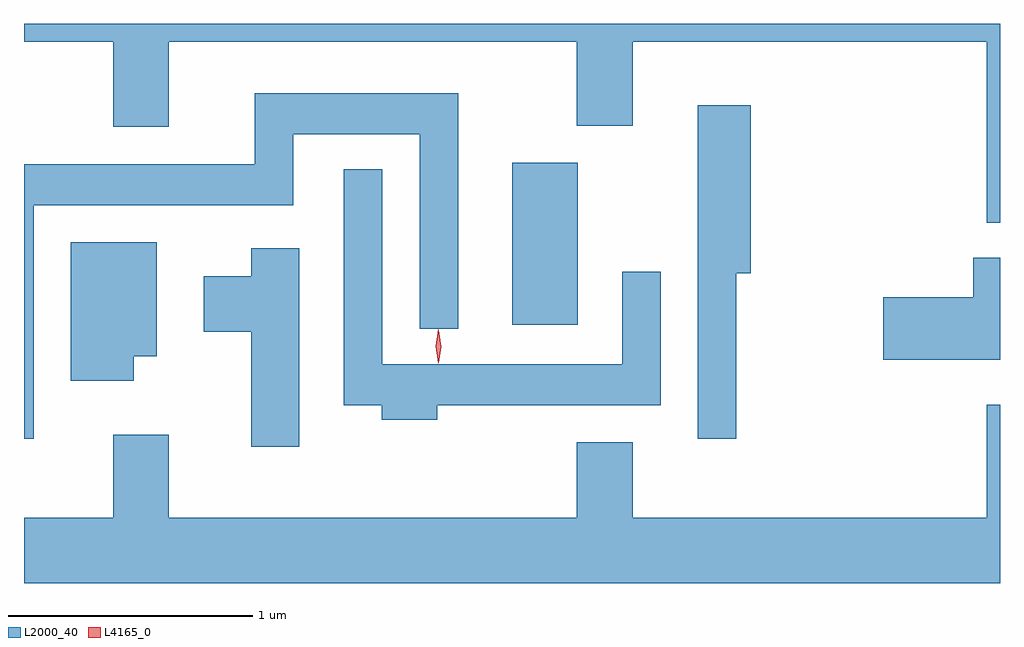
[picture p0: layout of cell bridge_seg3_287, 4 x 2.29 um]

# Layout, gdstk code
import gdstk
lib = gdstk.Library(unit=1e-6, precision=1e-09)
def R(c, l, rs):  # rectangles x0, y0, x1, y1
    for r in rs: c.add(gdstk.rectangle(r[:2], r[2:], *l))
def P(c, l, *ps):  # polygons
    for p in ps: c.add(gdstk.Polygon(p, *l))
L2000_40 = (2000, 40)
L4165_0 = (4165, 0)

bridge_seg3_287 = lib.new_cell('bridge_seg3_287')
R(bridge_seg3_287, L2000_40, [(1071.806,1127.076,1072.074,1127.739)])
P(bridge_seg3_287, L2000_40, [(1073.805,1128.309),(1069.805,1128.309),(1069.805,1128.236),(1070.171,1128.236),(1070.171,1127.886),(1070.399,1127.886),(1070.399,1128.236),(1072.071,1128.236),(1072.071,1127.891),(1072.299,1127.891),(1072.299,1128.236),(1073.751,1128.236),(1073.751,1127.493),(1073.805,1127.493)],
  [(1069.844,1127.566),(1070.909,1127.566),(1070.909,1127.856),(1071.426,1127.856),(1071.426,1127.058),(1071.584,1127.058),(1071.584,1128.024),(1070.751,1128.024),(1070.751,1127.734),(1069.805,1127.734),(1069.805,1126.608),(1069.844,1126.608)],
  [(1072.724,1127.286),(1072.784,1127.286),(1072.784,1127.974),(1072.566,1127.974),(1072.566,1126.608),(1072.724,1126.608)],
  [(1071.499,1126.746),(1072.414,1126.746),(1072.414,1127.293),(1072.256,1127.293),(1072.256,1126.914),(1071.274,1126.914),(1071.274,1127.713),(1071.116,1127.713),(1071.116,1126.746),(1071.271,1126.746),(1071.271,1126.686),(1071.499,1126.686)],
  [(1070.254,1126.946),(1070.349,1126.946),(1070.349,1127.414),(1069.996,1127.414),(1069.996,1126.846),(1070.254,1126.846)],
  [(1070.934,1127.389),(1070.736,1127.389),(1070.736,1127.274),(1070.541,1127.274),(1070.541,1127.046),(1070.736,1127.046),(1070.736,1126.576),(1070.934,1126.576)],
  [(1073.805,1127.349),(1073.696,1127.349),(1073.696,1127.189),(1073.326,1127.189),(1073.326,1126.931),(1073.805,1126.931)],
  [(1073.805,1126.748),(1073.751,1126.748),(1073.751,1126.284),(1072.299,1126.284),(1072.299,1126.594),(1072.071,1126.594),(1072.071,1126.284),(1070.399,1126.284),(1070.399,1126.624),(1070.171,1126.624),(1070.171,1126.284),(1069.805,1126.284),(1069.805,1126.016),(1073.805,1126.016)])
P(bridge_seg3_287, L4165_0, [(1071.502,1126.917),(1071.502,1126.918),(1071.492,1126.987),(1071.502,1127.056),(1071.502,1127.056),(1071.503,1127.056),(1071.512,1126.987),(1071.503,1126.918)],
  [(1071.505,1126.919),(1071.504,1126.92),(1071.495,1126.986),(1071.504,1127.052),(1071.505,1127.053),(1071.505,1127.052),(1071.515,1126.986),(1071.505,1126.92)])

lib.write_gds('bridge_seg3_287.gds')
